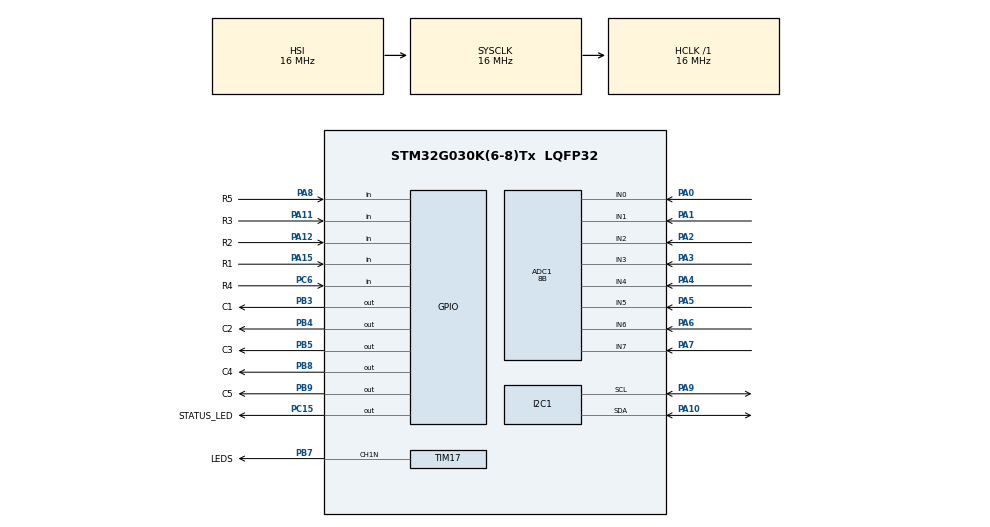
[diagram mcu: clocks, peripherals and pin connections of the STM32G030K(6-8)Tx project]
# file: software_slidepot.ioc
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ADC1.Channel-0\#ChannelRegularConversion=ADC_CHANNEL_0
ADC1.Channel-1\#ChannelRegularConversion=ADC_CHANNEL_1
ADC1.Channel-2\#ChannelRegularConversion=ADC_CHANNEL_2
ADC1.Channel-3\#ChannelRegularConversion=ADC_CHANNEL_3
ADC1.Channel-4\#ChannelRegularConversion=ADC_CHANNEL_4
ADC1.Channel-5\#ChannelRegularConversion=ADC_CHANNEL_5
ADC1.Channel-6\#ChannelRegularConversion=ADC_CHANNEL_6
ADC1.Channel-8\#ChannelRegularConversion=ADC_CHANNEL_7
ADC1.ClockPrescaler=ADC_CLOCK_ASYNC_DIV2
ADC1.ContinuousConvMode=ENABLE
ADC1.DMAContinuousRequests=ENABLE
ADC1.NbrOfConversion=8
ADC1.NbrOfConversionFlag=1
ADC1.Rank-0\#ChannelRegularConversion=1
ADC1.Rank-1\#ChannelRegularConversion=2
ADC1.Rank-2\#ChannelRegularConversion=3
ADC1.Rank-3\#ChannelRegularConversion=4
ADC1.Rank-4\#ChannelRegularConversion=5
ADC1.Rank-5\#ChannelRegularConversion=6
ADC1.Rank-6\#ChannelRegularConversion=7
ADC1.Rank-8\#ChannelRegularConversion=8
ADC1.Resolution=ADC_RESOLUTION_8B
ADC1.SamplingTime-0\#ChannelRegularConversion=ADC_SAMPLINGTIME_COMMON_1
ADC1.SamplingTime-1\#ChannelRegularConversion=ADC_SAMPLINGTIME_COMMON_1
ADC1.SamplingTime-2\#ChannelRegularConversion=ADC_SAMPLINGTIME_COMMON_1
ADC1.SamplingTime-3\#ChannelRegularConversion=ADC_SAMPLINGTIME_COMMON_1
ADC1.SamplingTime-4\#ChannelRegularConversion=ADC_SAMPLINGTIME_COMMON_1
ADC1.SamplingTime-5\#ChannelRegularConversion=ADC_SAMPLINGTIME_COMMON_1
ADC1.SamplingTime-6\#ChannelRegularConversion=ADC_SAMPLINGTIME_COMMON_1
ADC1.SamplingTime-8\#ChannelRegularConversion=ADC_SAMPLINGTIME_COMMON_1
ADC1.SamplingTimeCommon1=ADC_SAMPLETIME_39CYCLES_5
ADC1.SelectedChannel=ADC_CHANNEL_0|ADC_CHANNEL_1|ADC_CHANNEL_2|ADC_CHANNEL_3|ADC_CHANNEL_4|ADC_CHANNEL_5|ADC_CHANNEL_6|ADC_CHANNEL_7
ADC1.master=1
Dma.ADC1.1.Direction=DMA_PERIPH_TO_MEMORY
Dma.ADC1.1.EventEnable=DISABLE
Dma.ADC1.1.Instance=DMA1_Channel2
Dma.ADC1.1.MemDataAlignment=DMA_MDATAALIGN_BYTE
Dma.ADC1.1.MemInc=DMA_MINC_ENABLE
Dma.ADC1.1.Mode=DMA_CIRCULAR
Dma.ADC1.1.PeriphDataAlignment=DMA_PDATAALIGN_BYTE
Dma.ADC1.1.PeriphInc=DMA_PINC_DISABLE
Dma.ADC1.1.Polarity=HAL_DMAMUX_REQ_GEN_RISING
Dma.ADC1.1.Priority=DMA_PRIORITY_LOW
Dma.ADC1.1.RequestNumber=1
Dma.ADC1.1.SignalID=NONE
Dma.ADC1.1.SyncEnable=DISABLE
Dma.ADC1.1.SyncPolarity=HAL_DMAMUX_SYNC_NO_EVENT
Dma.ADC1.1.SyncRequestNumber=1
Dma.ADC1.1.SyncSignalID=NONE
Dma.Request0=TIM17_CH1
Dma.Request1=ADC1
Dma.TIM17_CH1.0.Direction=DMA_MEMORY_TO_PERIPH
Dma.TIM17_CH1.0.EventEnable=DISABLE
Dma.TIM17_CH1.0.Instance=DMA1_Channel1
Dma.TIM17_CH1.0.MemDataAlignment=DMA_MDATAALIGN_HALFWORD
Dma.TIM17_CH1.0.MemInc=DMA_MINC_ENABLE
Dma.TIM17_CH1.0.Mode=DMA_NORMAL
Dma.TIM17_CH1.0.PeriphDataAlignment=DMA_PDATAALIGN_HALFWORD
Dma.TIM17_CH1.0.PeriphInc=DMA_PINC_DISABLE
Dma.TIM17_CH1.0.Polarity=HAL_DMAMUX_REQ_GEN_RISING
Dma.TIM17_CH1.0.Priority=DMA_PRIORITY_VERY_HIGH
Dma.TIM17_CH1.0.RequestNumber=1
Dma.TIM17_CH1.0.SignalID=NONE
Dma.TIM17_CH1.0.SyncEnable=DISABLE
Dma.TIM17_CH1.0.SyncPolarity=HAL_DMAMUX_SYNC_NO_EVENT
Dma.TIM17_CH1.0.SyncRequestNumber=1
Dma.TIM17_CH1.0.SyncSignalID=NONE
I2C1.Analog_Filter=I2C_ANALOGFILTER_ENABLE
I2C1.NoStretchMode=I2C_NOSTRETCH_DISABLE
I2C1.OwnAddress=0x12
Mcu.Family=STM32G0
Mcu.Name=STM32G030K(6-8)Tx
Mcu.Package=LQFP32
NVIC.DMA1_Channel1_IRQn=true\:0\:0\:false\:false\:true\:false\:true\:true
NVIC.DMA1_Channel2_3_IRQn=true\:0\:0\:false\:false\:true\:false\:true\:true
NVIC.TIM14_IRQn=true\:0\:0\:false\:false\:true\:true\:true\:true
PA0.Mode=IN0
PA0.Signal=ADC1_IN0
PA1.Mode=IN1
PA1.Signal=ADC1_IN1
PA10.Mode=I2C
PA10.Signal=I2C1_SDA
PA11\ [PA9].GPIO_Label=R3
PA11\ [PA9].Signal=GPIO_Input
PA12\ [PA10].GPIO_Label=R2
PA12\ [PA10].Signal=GPIO_Input
PA13.Mode=Serial_Wire
PA13.Signal=SYS_SWDIO
PA14-BOOT0.Mode=Serial_Wire
PA14-BOOT0.Signal=SYS_SWCLK
PA15.GPIO_Label=R1
PA15.Signal=GPIO_Input
PA2.Mode=IN2
PA2.Signal=ADC1_IN2
PA3.Mode=IN3
PA3.Signal=ADC1_IN3
PA4.Mode=IN4
PA4.Signal=ADC1_IN4
PA5.Mode=IN5
PA5.Signal=ADC1_IN5
PA6.Mode=IN6
PA6.Signal=ADC1_IN6
PA7.Mode=IN7
PA7.Signal=ADC1_IN7
PA8.GPIO_Label=R5
PA8.Signal=GPIO_Input
PA9.Mode=I2C
PA9.Signal=I2C1_SCL
PB3.GPIO_Label=C1
PB3.Signal=GPIO_Output
PB4.GPIO_Label=C2
PB4.Signal=GPIO_Output
PB5.GPIO_Label=C3
PB5.Signal=GPIO_Output
PB7.GPIO_Label=LEDS
PB7.Mode=PWM Generation1 CH1N
PB7.Signal=TIM17_CH1N
PB8.GPIO_Label=C4
PB8.Signal=GPIO_Output
PB9.GPIO_Label=C5
PB9.Signal=GPIO_Output
PC15-OSC32_OUT\ (PC15).GPIO_Label=STATUS_LED
PC15-OSC32_OUT\ (PC15).Signal=GPIO_Output
PC6.GPIO_Label=R4
PC6.Signal=GPIO_Input
ProjectManager.HeapSize=0x200
ProjectManager.StackSize=0x400
ProjectManager.TargetToolchain=EWARM V8.50
RCC.AHBFreq_Value=16000000
RCC.CortexFreq_Value=16000000
RCC.EXTERNAL_CLOCK_VALUE=12288000
RCC.HCLKFreq_Value=16000000
RCC.HSE_VALUE=8000000
RCC.HSI_VALUE=16000000
RCC.LSE_VALUE=32768
RCC.SYSCLKFreq_VALUE=16000000
RCC.VCOOutputFreq_Value=128000000
TIM14.Period=10000-1
TIM14.Prescaler=16-1
TIM17.AutoReloadPreload=TIM_AUTORELOAD_PRELOAD_DISABLE
TIM17.Channel=TIM_CHANNEL_1
TIM17.OC1Preload_PWM=DISABLE
TIM17.OCFastMode_PWM=TIM_OCFAST_ENABLE
TIM17.OCNIdleState_1=TIM_OCNIDLESTATE_RESET
TIM17.OCNPolarity_1=TIM_OCNPOLARITY_HIGH
TIM17.Period=20-1
VP_TIM14_VS_ClockSourceINT.Mode=Enable_Timer
VP_TIM17_VS_ClockSourceINT.Mode=Enable_Timer
board=custom

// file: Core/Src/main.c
/* USER CODE BEGIN Header */
/**
  ******************************************************************************
  * @file           : main.c
  * @brief          : Main program body
  ******************************************************************************
  * @attention
  *
  * Copyright (c) 2023 STMicroelectronics.
  * All rights reserved.
  *
  * This software is licensed under terms that can be found in the LICENSE file
  * in the root directory of this software component.
  * If no LICENSE file comes with this software, it is provided AS-IS.
  *
  ******************************************************************************
  */
/* USER CODE END Header */
#include "main.h"

/* USER CODE BEGIN Includes */
#include <stdbool.h>
#include "math.h"

#include "digitalsynth_slide_i2c.h"
#include "digitalsynth_slide_butt.h"
/* USER CODE END Includes */

/* USER CODE BEGIN PD */

//WS2812b defines
#define MAX_LED 25                 //25
#define USE_BRIGHTNESS 0
#define PI 3.14159265
#define WS2812B_RST_TIME 20     //50us<

//I2C defines
#define TXSIZE 12
#define RXSIZE  3
#define TOGGLEDELAY     1000        //1s -   num/ms/s
#define BUTTDELAY       10          //10ms - num/ms/s

//Button defines
#define ROWSIZE 5
#define COLSIZE 5

//adc
#define ADC_BUF_LEN 2*8

/* USER CODE END PD */

ADC_HandleTypeDef hadc1;
DMA_HandleTypeDef hdma_adc1;

I2C_HandleTypeDef hi2c1;

TIM_HandleTypeDef htim14;
TIM_HandleTypeDef htim17;
DMA_HandleTypeDef hdma_tim17_ch1;

/* USER CODE BEGIN PV */

//WS2812b global variables
uint8_t LED_Data[MAX_LED][4];
uint8_t LED_Mod[MAX_LED][4];    //for brightness
int datasentflag=0;

uint8_t green = 0;
uint8_t red = 0;
uint8_t blue = 0;

uint16_t pwmData[(24*MAX_LED)+WS2812B_RST_TIME];

//I2C global variables
uint8_t RxData[RXSIZE];
uint8_t rxcount = 0;
int countAddr = 0;
uI2CSlidePotControls sCont;
uint32_t u32LastToggleTick = 0;
uint32_t u32LastButtTick = 0;
HAL_StatusTypeDef status;

//reseting i2c
uint8_t u8ErrorFlag = 0;
uint32_t u32ErrorTick = 0;

//adc
uint8_t arru8adc_buf[ADC_BUF_LEN];
uint8_t * pu8adc_bufcurr;
/* USER CODE END PV */

void SystemClock_Config(void);
static void MX_GPIO_Init(void);
static void MX_DMA_Init(void);
static void MX_ADC1_Init(void);
static void MX_I2C1_Init(void);
static void MX_TIM17_Init(void);
static void MX_TIM14_Init(void);
/* USER CODE BEGIN PFP */
void HAL_TIM_PWM_PulseFinishedCallback(TIM_HandleTypeDef *htim);
void send(uint8_t Green, uint8_t Red, uint8_t Blue);
void Set_LED(int LEDnum, int Red, int Green, int Blue);
void Set_Brightness(int brightness);
void WS2812_Send (void);
void i2c_reset(I2C_HandleTypeDef *hi2c);
/* USER CODE END PFP */

int main(void)
{

  /* MCU Configuration--------------------------------------------------------*/

  /* Reset of all peripherals, Initializes the Flash interface and the Systick. */
  HAL_Init();

  /* Configure the system clock */
  SystemClock_Config();

  /* Initialize all configured peripherals */
  MX_GPIO_Init();
  MX_DMA_Init();
  MX_ADC1_Init();
  MX_I2C1_Init();
  MX_TIM17_Init();
  MX_TIM14_Init();
  /* USER CODE BEGIN 2 */

  Set_LED(1, 0, 0, 1);

  //TODO BRIGHTNESS
  //Set_Brightness(20);
  WS2812_Send();

  for(int i = 0; i < 12; i++)
    sCont.au8I2CSlidePotByteAccess[i] = 0;

  /* USER CODE END 2 */

  /* Infinite loop */
  /* USER CODE BEGIN WHILE */

  //adc dma
  HAL_ADC_Start_DMA(&hadc1, (uint32_t*)arru8adc_buf, ADC_BUF_LEN);

  HAL_TIM_Base_Start_IT(&htim14);
  u32LastToggleTick = HAL_GetTick();
  u32LastButtTick = HAL_GetTick();
  while (1)
  {
    /* USER CODE END WHILE */

    /* USER CODE BEGIN 3 */
    //I2C communication
    status = HAL_I2C_Slave_Transmit(&hi2c1, sCont.au8I2CSlidePotByteAccess, TXSIZE,100);

    //if the line is busy, reset
    if( (status != HAL_OK) & (u8ErrorFlag==0) ){
      u8ErrorFlag = 1;
      u32ErrorTick = HAL_GetTick();
    }
    if( ( status != HAL_OK ) & ( HAL_GetTick() > (u32ErrorTick+250) ) & (u8ErrorFlag==1) ){
      i2c_reset(&hi2c1);
      u8ErrorFlag = 0;
    }

    //toggle status led
    while ((HAL_GetTick() - u32LastToggleTick) > TOGGLEDELAY){
      HAL_GPIO_TogglePin(GPIOC, GPIO_PIN_15);
      u32LastToggleTick = HAL_GetTick();
    }

    if ((HAL_GetTick() - u32LastButtTick) > BUTTDELAY){
      switch(sCont.sI2CSlidePotControl.u2ButtWaveform1){
        case 0:
          Set_LED(0, 0, 0, 0);
          break;
        case 1:
          Set_LED(0, 1, 0, 0);
          break;
        case 2:
          Set_LED(0, 0, 1, 0);
          break;
        case 3:
          Set_LED(0, 0, 0, 1);
          break;
        default:
          Set_LED(0, 0, 0, 0);
      }
      WS2812_Send();
      u32LastButtTick = HAL_GetTick();
    }

  }
  /* USER CODE END 3 */
}

void SystemClock_Config(void)
{
  RCC_OscInitTypeDef RCC_OscInitStruct = {0};
  RCC_ClkInitTypeDef RCC_ClkInitStruct = {0};

  /** Configure the main internal regulator output voltage
  */
  HAL_PWREx_ControlVoltageScaling(PWR_REGULATOR_VOLTAGE_SCALE1);

  /** Initializes the RCC Oscillators according to the specified parameters
  * in the RCC_OscInitTypeDef structure.
  */
  RCC_OscInitStruct.OscillatorType = RCC_OSCILLATORTYPE_HSI;
  RCC_OscInitStruct.HSIState = RCC_HSI_ON;
  RCC_OscInitStruct.HSIDiv = RCC_HSI_DIV1;
  RCC_OscInitStruct.HSICalibrationValue = RCC_HSICALIBRATION_DEFAULT;
  RCC_OscInitStruct.PLL.PLLState = RCC_PLL_NONE;
  if (HAL_RCC_OscConfig(&RCC_OscInitStruct) != HAL_OK)
  {
    Error_Handler();
  }

  /** Initializes the CPU, AHB and APB buses clocks
  */
  RCC_ClkInitStruct.ClockType = RCC_CLOCKTYPE_HCLK|RCC_CLOCKTYPE_SYSCLK
                              |RCC_CLOCKTYPE_PCLK1;
  RCC_ClkInitStruct.SYSCLKSource = RCC_SYSCLKSOURCE_HSI;
  RCC_ClkInitStruct.AHBCLKDivider = RCC_SYSCLK_DIV1;
  RCC_ClkInitStruct.APB1CLKDivider = RCC_HCLK_DIV1;

  if (HAL_RCC_ClockConfig(&RCC_ClkInitStruct, FLASH_LATENCY_0) != HAL_OK)
  {
    Error_Handler();
  }
}

static void MX_ADC1_Init(void)
{

  ADC_ChannelConfTypeDef sConfig = {0};

  /** Configure the global features of the ADC (Clock, Resolution, Data Alignment and number of conversion)
  */
  hadc1.Instance = ADC1;
  hadc1.Init.ClockPrescaler = ADC_CLOCK_ASYNC_DIV2;
  hadc1.Init.Resolution = ADC_RESOLUTION_8B;
  hadc1.Init.DataAlign = ADC_DATAALIGN_RIGHT;
  hadc1.Init.ScanConvMode = ADC_SCAN_ENABLE;
  hadc1.Init.EOCSelection = ADC_EOC_SINGLE_CONV;
  hadc1.Init.LowPowerAutoWait = DISABLE;
  hadc1.Init.LowPowerAutoPowerOff = DISABLE;
  hadc1.Init.ContinuousConvMode = ENABLE;
  hadc1.Init.NbrOfConversion = 8;
  hadc1.Init.ExternalTrigConv = ADC_SOFTWARE_START;
  hadc1.Init.ExternalTrigConvEdge = ADC_EXTERNALTRIGCONVEDGE_NONE;
  hadc1.Init.DMAContinuousRequests = ENABLE;
  hadc1.Init.Overrun = ADC_OVR_DATA_PRESERVED;
  hadc1.Init.SamplingTimeCommon1 = ADC_SAMPLETIME_39CYCLES_5;
  hadc1.Init.SamplingTimeCommon2 = ADC_SAMPLETIME_1CYCLE_5;
  hadc1.Init.OversamplingMode = DISABLE;
  hadc1.Init.TriggerFrequencyMode = ADC_TRIGGER_FREQ_HIGH;
  if (HAL_ADC_Init(&hadc1) != HAL_OK)
  {
    Error_Handler();
  }

  /** Configure Regular Channel
  */
  sConfig.Channel = ADC_CHANNEL_0;
  sConfig.Rank = ADC_REGULAR_RANK_1;
  sConfig.SamplingTime = ADC_SAMPLINGTIME_COMMON_1;
  if (HAL_ADC_ConfigChannel(&hadc1, &sConfig) != HAL_OK)
  {
    Error_Handler();
  }

  /** Configure Regular Channel
  */
  sConfig.Channel = ADC_CHANNEL_1;
  sConfig.Rank = ADC_REGULAR_RANK_2;
  if (HAL_ADC_ConfigChannel(&hadc1, &sConfig) != HAL_OK)
  {
    Error_Handler();
  }

  /** Configure Regular Channel
  */
  sConfig.Channel = ADC_CHANNEL_2;
  sConfig.Rank = ADC_REGULAR_RANK_3;
  if (HAL_ADC_ConfigChannel(&hadc1, &sConfig) != HAL_OK)
  {
    Error_Handler();
  }

  /** Configure Regular Channel
  */
  sConfig.Channel = ADC_CHANNEL_3;
  sConfig.Rank = ADC_REGULAR_RANK_4;
  if (HAL_ADC_ConfigChannel(&hadc1, &sConfig) != HAL_OK)
  {
    Error_Handler();
  }

  /** Configure Regular Channel
  */
  sConfig.Channel = ADC_CHANNEL_4;
  sConfig.Rank = ADC_REGULAR_RANK_5;
  if (HAL_ADC_ConfigChannel(&hadc1, &sConfig) != HAL_OK)
  {
    Error_Handler();
  }

  /** Configure Regular Channel
  */
  sConfig.Channel = ADC_CHANNEL_5;
  sConfig.Rank = ADC_REGULAR_RANK_6;
  if (HAL_ADC_ConfigChannel(&hadc1, &sConfig) != HAL_OK)
  {
    Error_Handler();
  }

  /** Configure Regular Channel
  */
  sConfig.Channel = ADC_CHANNEL_6;
  sConfig.Rank = ADC_REGULAR_RANK_7;
  if (HAL_ADC_ConfigChannel(&hadc1, &sConfig) != HAL_OK)
  {
    Error_Handler();
  }

  /** Configure Regular Channel
  */
  sConfig.Channel = ADC_CHANNEL_7;
  sConfig.Rank = ADC_REGULAR_RANK_8;
  if (HAL_ADC_ConfigChannel(&hadc1, &sConfig) != HAL_OK)
  {
    Error_Handler();
  }

}

static void MX_I2C1_Init(void)
{

  hi2c1.Instance = I2C1;
  hi2c1.Init.Timing = 0x00303D5B;
  hi2c1.Init.OwnAddress1 = 36;
  hi2c1.Init.AddressingMode = I2C_ADDRESSINGMODE_7BIT;
  hi2c1.Init.DualAddressMode = I2C_DUALADDRESS_DISABLE;
  hi2c1.Init.OwnAddress2 = 0;
  hi2c1.Init.OwnAddress2Masks = I2C_OA2_NOMASK;
  hi2c1.Init.GeneralCallMode = I2C_GENERALCALL_DISABLE;
  hi2c1.Init.NoStretchMode = I2C_NOSTRETCH_DISABLE;
  if (HAL_I2C_Init(&hi2c1) != HAL_OK)
  {
    Error_Handler();
  }

  /** Configure Analogue filter
  */
  if (HAL_I2CEx_ConfigAnalogFilter(&hi2c1, I2C_ANALOGFILTER_ENABLE) != HAL_OK)
  {
    Error_Handler();
  }

  /** Configure Digital filter
  */
  if (HAL_I2CEx_ConfigDigitalFilter(&hi2c1, 0) != HAL_OK)
  {
    Error_Handler();
  }

}

static void MX_TIM14_Init(void)
{

  htim14.Instance = TIM14;
  htim14.Init.Prescaler = 16-1;
  htim14.Init.CounterMode = TIM_COUNTERMODE_UP;
  htim14.Init.Period = 10000-1;
  htim14.Init.ClockDivision = TIM_CLOCKDIVISION_DIV1;
  htim14.Init.AutoReloadPreload = TIM_AUTORELOAD_PRELOAD_DISABLE;
  if (HAL_TIM_Base_Init(&htim14) != HAL_OK)
  {
    Error_Handler();
  }

}

static void MX_TIM17_Init(void)
{

  TIM_OC_InitTypeDef sConfigOC = {0};
  TIM_BreakDeadTimeConfigTypeDef sBreakDeadTimeConfig = {0};

  htim17.Instance = TIM17;
  htim17.Init.Prescaler = 0;
  htim17.Init.CounterMode = TIM_COUNTERMODE_UP;
  htim17.Init.Period = 20-1;
  htim17.Init.ClockDivision = TIM_CLOCKDIVISION_DIV1;
  htim17.Init.RepetitionCounter = 0;
  htim17.Init.AutoReloadPreload = TIM_AUTORELOAD_PRELOAD_DISABLE;
  if (HAL_TIM_Base_Init(&htim17) != HAL_OK)
  {
    Error_Handler();
  }
  if (HAL_TIM_PWM_Init(&htim17) != HAL_OK)
  {
    Error_Handler();
  }
  sConfigOC.OCMode = TIM_OCMODE_PWM1;
  sConfigOC.Pulse = 0;
  sConfigOC.OCPolarity = TIM_OCPOLARITY_HIGH;
  sConfigOC.OCNPolarity = TIM_OCNPOLARITY_HIGH;
  sConfigOC.OCFastMode = TIM_OCFAST_ENABLE;
  sConfigOC.OCIdleState = TIM_OCIDLESTATE_RESET;
  sConfigOC.OCNIdleState = TIM_OCNIDLESTATE_RESET;
  if (HAL_TIM_PWM_ConfigChannel(&htim17, &sConfigOC, TIM_CHANNEL_1) != HAL_OK)
  {
    Error_Handler();
  }
  __HAL_TIM_DISABLE_OCxPRELOAD(&htim17, TIM_CHANNEL_1);
  sBreakDeadTimeConfig.OffStateRunMode = TIM_OSSR_DISABLE;
  sBreakDeadTimeConfig.OffStateIDLEMode = TIM_OSSI_DISABLE;
  sBreakDeadTimeConfig.LockLevel = TIM_LOCKLEVEL_OFF;
  sBreakDeadTimeConfig.DeadTime = 0;
  sBreakDeadTimeConfig.BreakState = TIM_BREAK_DISABLE;
  sBreakDeadTimeConfig.BreakPolarity = TIM_BREAKPOLARITY_HIGH;
  sBreakDeadTimeConfig.BreakFilter = 0;
  sBreakDeadTimeConfig.AutomaticOutput = TIM_AUTOMATICOUTPUT_DISABLE;
  if (HAL_TIMEx_ConfigBreakDeadTime(&htim17, &sBreakDeadTimeConfig) != HAL_OK)
  {
    Error_Handler();
  }
  HAL_TIM_MspPostInit(&htim17);

}

static void MX_DMA_Init(void)
{

  /* DMA controller clock enable */
  __HAL_RCC_DMA1_CLK_ENABLE();

  /* DMA interrupt init */
  /* DMA1_Channel1_IRQn interrupt configuration */
  HAL_NVIC_SetPriority(DMA1_Channel1_IRQn, 0, 0);
  HAL_NVIC_EnableIRQ(DMA1_Channel1_IRQn);
  /* DMA1_Channel2_3_IRQn interrupt configuration */
  HAL_NVIC_SetPriority(DMA1_Channel2_3_IRQn, 0, 0);
  HAL_NVIC_EnableIRQ(DMA1_Channel2_3_IRQn);

}

static void MX_GPIO_Init(void)
{
  GPIO_InitTypeDef GPIO_InitStruct = {0};

  /* GPIO Ports Clock Enable */
  __HAL_RCC_GPIOB_CLK_ENABLE();
  __HAL_RCC_GPIOC_CLK_ENABLE();
  __HAL_RCC_GPIOA_CLK_ENABLE();

  /*Configure GPIO pin Output Level */
  HAL_GPIO_WritePin(GPIOB, C5_Pin|C1_Pin|C2_Pin|C3_Pin
                          |C4_Pin, GPIO_PIN_RESET);

  /*Configure GPIO pin Output Level */
  HAL_GPIO_WritePin(STATUS_LED_GPIO_Port, STATUS_LED_Pin, GPIO_PIN_RESET);

  /*Configure GPIO pins : C5_Pin C1_Pin C2_Pin C3_Pin
                           C4_Pin */
  GPIO_InitStruct.Pin = C5_Pin|C1_Pin|C2_Pin|C3_Pin
                          |C4_Pin;
  GPIO_InitStruct.Mode = GPIO_MODE_OUTPUT_PP;
  GPIO_InitStruct.Pull = GPIO_NOPULL;
  GPIO_InitStruct.Speed = GPIO_SPEED_FREQ_LOW;
  HAL_GPIO_Init(GPIOB, &GPIO_InitStruct);

  /*Configure GPIO pin : STATUS_LED_Pin */
  GPIO_InitStruct.Pin = STATUS_LED_Pin;
  GPIO_InitStruct.Mode = GPIO_MODE_OUTPUT_PP;
  GPIO_InitStruct.Pull = GPIO_NOPULL;
  GPIO_InitStruct.Speed = GPIO_SPEED_FREQ_LOW;
  HAL_GPIO_Init(STATUS_LED_GPIO_Port, &GPIO_InitStruct);

  /*Configure GPIO pins : R5_Pin R3_Pin R2_Pin R1_Pin */
  GPIO_InitStruct.Pin = R5_Pin|R3_Pin|R2_Pin|R1_Pin;
  GPIO_InitStruct.Mode = GPIO_MODE_INPUT;
  GPIO_InitStruct.Pull = GPIO_NOPULL;
  HAL_GPIO_Init(GPIOA, &GPIO_InitStruct);

  /*Configure GPIO pin : R4_Pin */
  GPIO_InitStruct.Pin = R4_Pin;
  GPIO_InitStruct.Mode = GPIO_MODE_INPUT;
  GPIO_InitStruct.Pull = GPIO_NOPULL;
  HAL_GPIO_Init(R4_GPIO_Port, &GPIO_InitStruct);

}

/* USER CODE BEGIN 4 */

void HAL_TIM_PWM_PulseFinishedCallback(TIM_HandleTypeDef *htim){
  HAL_TIMEx_PWMN_Stop_DMA(&htim17, TIM_CHANNEL_1);
  datasentflag=1;
}

#pragma optimize=none
void send(uint8_t Green, uint8_t Red, uint8_t Blue){

  //lol
  uint32_t data1 = 0;
  uint32_t data3 = 0;

  uint32_t data = (Green<<16) | (Red<<8) | Blue;

  uint16_t pwmData2[92];
  int indx = 0;

  //data1
  for(int i=23; i>=0;i--){
    if(data1&(1<<i))
      pwmData2[indx] = 13;          //12.8
    else
      pwmData2[indx] = 6;           //6.4

    indx++;
  }

  //62.5ns steps,
  for(int i=23; i>=0;i--){
    if(data&(1<<i))
      pwmData2[indx] = 13;          //12.8
    else
      pwmData2[indx] = 6;           //6.4

    indx++;
  }

  //data3
  for(int i=23; i>=0;i--){
    if(data3&(1<<i))
      pwmData2[indx] = 13;          //12.8
    else
      pwmData2[indx] = 6;           //6.4

    indx++;
  }

  for (int i=0; i<20; i++){
    pwmData2[indx] = 0;
    indx++;
  }

  HAL_TIMEx_PWMN_Start_DMA(&htim17, TIM_CHANNEL_1, (uint32_t *)pwmData2, indx);
  while (!datasentflag){};
  datasentflag = 0;
}

void Set_LED(int LEDnum, int Red, int Green, int Blue){
  LED_Data[LEDnum][0] = LEDnum;
  LED_Data[LEDnum][1] = Green;
  LED_Data[LEDnum][2] = Red;
  LED_Data[LEDnum][3] = Blue;
}

void Set_Brightness(int brightness)
{
#if USE_BRIGHTNESS
  if(brightness > 45)
    brightness = 45;
  for(int i = 0; i < MAX_LED; i++){
    LED_Mod[i][0] = LED_Data[i][0];
    for(int j = 1; j < 4; j++){
      float angle = 90*brightness;      //in degrees
      angle = angle * PI / 180;         //in rad
      LED_Mod[i][j] = (LED_Data[i][j]/(tan(angle)));
    }
  }
#endif
}

#pragma optimize=none
void WS2812_Send (void)
{
	uint32_t indx=0;
	uint32_t color;

	for (int i= 0; i<MAX_LED; i++)
	{
#if USE_BRIGHTNESS
		color = ((LED_Mod[i][1]<<16) | (LED_Mod[i][2]<<8) | (LED_Mod[i][3]));
#else
		color = ((LED_Data[i][1]<<16) | (LED_Data[i][2]<<8) | (LED_Data[i][3]));
#endif

		for (int i=23; i>=0; i--)
		{
			if (color&(1<<i))
			{
				pwmData[indx] = 13;  //12.8
			}

			else pwmData[indx] = 6;  //6.4

			indx++;
		}

	}

	for (int u=0; u<WS2812B_RST_TIME; u++)
	{
		pwmData[indx] = 0;
		indx++;
	}
        HAL_TIMEx_PWMN_Start_DMA(&htim17, TIM_CHANNEL_1, (uint32_t *)pwmData, indx);
	while (!datasentflag){};
	datasentflag = 0;
}

void i2c_reset(I2C_HandleTypeDef *hi2c){
  SET_BIT(hi2c->Instance->CR1, I2C_CR1_SWRST);
  HAL_Delay( 10 );
  CLEAR_BIT(hi2c->Instance->CR1, I2C_CR1_SWRST);
  MX_I2C1_Init();
}

//adc double buffering
void HAL_ADC_ConvHalfCpltCallback(ADC_HandleTypeDef* hadc){
  sCont.sI2CSlidePotControl.u8SlidePot[0] = arru8adc_buf[0];
  sCont.sI2CSlidePotControl.u8SlidePot[1] = arru8adc_buf[1];
  sCont.sI2CSlidePotControl.u8SlidePot[2] = arru8adc_buf[2];
  sCont.sI2CSlidePotControl.u8SlidePot[3] = arru8adc_buf[3];
  sCont.sI2CSlidePotControl.u8SlidePot[4] = arru8adc_buf[4];
  sCont.sI2CSlidePotControl.u8SlidePot[5] = arru8adc_buf[5];
  sCont.sI2CSlidePotControl.u8SlidePot[6] = arru8adc_buf[6];
  sCont.sI2CSlidePotControl.u8SlidePot[7] = arru8adc_buf[7];
}

void HAL_ADC_ConvCpltCallback(ADC_HandleTypeDef* hadc){
  sCont.sI2CSlidePotControl.u8SlidePot[0] = arru8adc_buf[8];
  sCont.sI2CSlidePotControl.u8SlidePot[1] = arru8adc_buf[9];
  sCont.sI2CSlidePotControl.u8SlidePot[2] = arru8adc_buf[10];
  sCont.sI2CSlidePotControl.u8SlidePot[3] = arru8adc_buf[11];
  sCont.sI2CSlidePotControl.u8SlidePot[4] = arru8adc_buf[12];
  sCont.sI2CSlidePotControl.u8SlidePot[5] = arru8adc_buf[13];
  sCont.sI2CSlidePotControl.u8SlidePot[6] = arru8adc_buf[14];
  sCont.sI2CSlidePotControl.u8SlidePot[7] = arru8adc_buf[15];
}

/* USER CODE END 4 */

void Error_Handler(void)
{
  __disable_irq();
  while (1)
  {
  }
}
